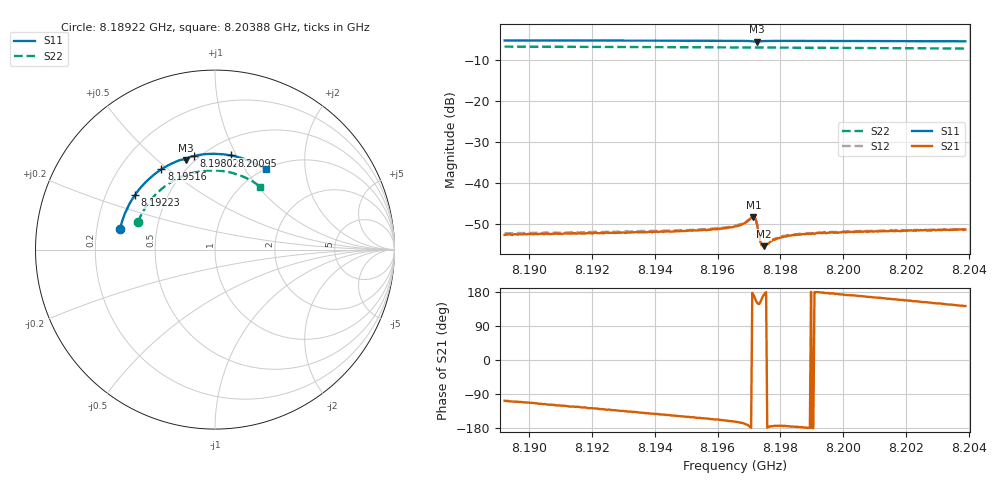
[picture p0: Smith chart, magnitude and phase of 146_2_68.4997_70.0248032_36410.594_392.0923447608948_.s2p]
#  HZ  S  RI  R  50.00
! Rohde & Schwarz Vector Network Analyzer
! Rohde-Schwarz,ZNB20-2Port,1311601062101988,3.16
! Created: UTC 3/20/2024, 4:55:05 PM
! freq[Hz]  re:S11  im:S11  re:S21  im:S21  re:S12  im:S12  re:S22  im:S22
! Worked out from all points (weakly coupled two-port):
!   401 points, 8.18922 GHz to 8.20388 GHz, reference 50 ohm
!   highest |S21| = -48.27 dB at 8.19714 GHz (marker M1); lowest = -55.3 dB at 8.19747 GHz (marker M2)
!   lowest |S11| = -5.6 dB at 8.19725 GHz (marker M3), VSWR 3.19, Z = 22.7 + j31 ohm
!   |S11| at or under -10 dB: nowhere
!   |S22| runs from -7.3 to -6.8 dB; largest |S21 - S12| = 0.00023
!   S11 on the Smith chart (normalised r, x): 8.18922 GHz: 0.30, +0.10; 8.19223 GHz: 0.32, +0.28; 8.19516 GHz: 0.38, +0.47; 8.19802 GHz: 0.47, +0.69; 8.20095 GHz: 0.65, +0.95; 8.20388 GHz: 1.01, +1.25
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8.189223e9  -0.5296 0.1123  -0.000703 -0.00225  -0.000803 -0.00234  -0.4295 0.1518
8.191679e9  -0.4667 0.272  -0.00141 -0.00199  -0.0015 -0.00202  -0.363 0.2701
8.192228e9  -0.4457 0.3045  -0.00156 -0.00191  -0.00166 -0.00195  -0.3436 0.2933
8.194134e9  -0.3563 0.404  -0.00207 -0.00152  -0.00217 -0.00153  -0.2641 0.3634
8.195161e9  -0.2985 0.4474  -0.00233 -0.00129  -0.00241 -0.00123  -0.215 0.3928
8.195967e9  -0.2489 0.476  -0.00254 -0.00109  -0.00264 -0.000965  -0.1739 0.4113
8.196553e9  -0.21 0.4933  -0.00285 -0.000903  -0.00294 -0.000791  -0.1427 0.422
8.196773e9  -0.1944 0.4988  -0.00306 -0.000773  -0.00314 -0.000641  -0.1309 0.4256
8.197066e9  -0.171 0.5023  -0.00375 -7.4e-05  -0.00381 2.53e-05  -0.1149 0.4295
8.19714e9  -0.1655 0.5003  -0.00382 0.000526  -0.00387 0.000696  -0.1108 0.4302
8.197213e9  -0.1635 0.4969  -0.00334 0.00135  -0.00333 0.0015  -0.1068 0.431
8.19725e9  -0.1642 0.4966  -0.00281 0.00151  -0.0028 0.00167  -0.105 0.4314
8.19736e9  -0.1637 0.5026  -0.00174 0.000886  -0.00174 0.000973  -0.0989 0.4329
8.197396e9  -0.1616 0.5052  -0.00166 0.000607  -0.00169 0.000733  -0.097 0.4334
8.19747e9  -0.1567 0.5089  -0.0017 0.000246  -0.00171 0.000343  -0.0929 0.4341
8.197763e9  -0.135 0.5176  -0.00205 -0.0002  -0.00206 -9.95e-05  -0.0768 0.4368
8.198019e9  -0.1164 0.5222  -0.00217 -0.00025  -0.00224 -0.000118  -0.0622 0.4386
8.198386e9  -0.0903 0.5273  -0.00234 -0.000185  -0.00236 -0.000102  -0.0415 0.4405
8.199009e9  -0.0462 0.5325  -0.00246 -7.77e-06  -0.00246 9.98e-05  -0.00624 0.4414
8.200951e9  0.0909 0.5244  -0.00249 0.000659  -0.0025 0.000752  0.1025 0.4255
8.201465e9  0.1264 0.5162  -0.0025 0.000814  -0.00249 0.000946  0.1304 0.4166
8.203884e9  0.282 0.4466  -0.00217 0.00166  -0.00211 0.00174  0.2521 0.3505
